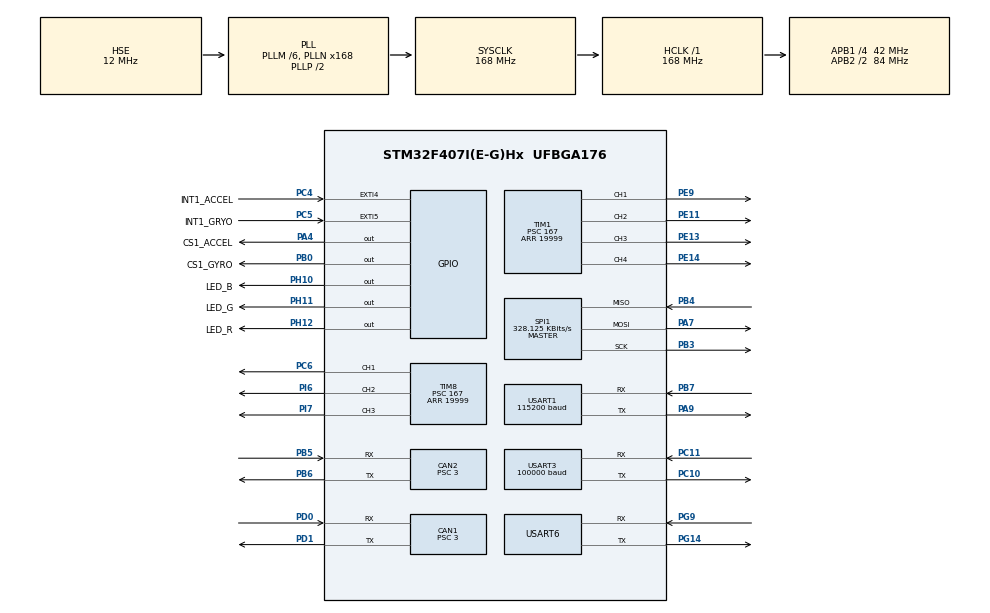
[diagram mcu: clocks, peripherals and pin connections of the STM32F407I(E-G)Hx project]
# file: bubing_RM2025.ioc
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CAN1.BS1=CAN_BS1_10TQ
CAN1.BS2=CAN_BS2_3TQ
CAN1.CalculateBaudRate=1000000
CAN1.CalculateTimeBit=1000
CAN1.CalculateTimeQuantum=71.42857142857143
CAN1.Prescaler=3
CAN2.BS1=CAN_BS1_10TQ
CAN2.BS2=CAN_BS2_3TQ
CAN2.CalculateBaudRate=1000000
CAN2.CalculateTimeBit=1000
CAN2.CalculateTimeQuantum=71.42857142857143
CAN2.Prescaler=3
Dma.Request0=USART6_TX
Dma.Request1=USART6_RX
Dma.Request2=USART3_RX
Dma.Request3=USART1_RX
Dma.Request4=USART1_TX
Dma.USART1_RX.3.Direction=DMA_PERIPH_TO_MEMORY
Dma.USART1_RX.3.FIFOMode=DMA_FIFOMODE_DISABLE
Dma.USART1_RX.3.Instance=DMA2_Stream2
Dma.USART1_RX.3.MemDataAlignment=DMA_MDATAALIGN_BYTE
Dma.USART1_RX.3.MemInc=DMA_MINC_ENABLE
Dma.USART1_RX.3.Mode=DMA_NORMAL
Dma.USART1_RX.3.PeriphDataAlignment=DMA_PDATAALIGN_BYTE
Dma.USART1_RX.3.PeriphInc=DMA_PINC_DISABLE
Dma.USART1_RX.3.Priority=DMA_PRIORITY_HIGH
Dma.USART1_TX.4.Direction=DMA_MEMORY_TO_PERIPH
Dma.USART1_TX.4.FIFOMode=DMA_FIFOMODE_DISABLE
Dma.USART1_TX.4.Instance=DMA2_Stream7
Dma.USART1_TX.4.MemDataAlignment=DMA_MDATAALIGN_BYTE
Dma.USART1_TX.4.MemInc=DMA_MINC_ENABLE
Dma.USART1_TX.4.Mode=DMA_NORMAL
Dma.USART1_TX.4.PeriphDataAlignment=DMA_PDATAALIGN_BYTE
Dma.USART1_TX.4.PeriphInc=DMA_PINC_DISABLE
Dma.USART1_TX.4.Priority=DMA_PRIORITY_HIGH
Dma.USART3_RX.2.Direction=DMA_PERIPH_TO_MEMORY
Dma.USART3_RX.2.FIFOMode=DMA_FIFOMODE_DISABLE
Dma.USART3_RX.2.Instance=DMA1_Stream1
Dma.USART3_RX.2.MemDataAlignment=DMA_MDATAALIGN_BYTE
Dma.USART3_RX.2.MemInc=DMA_MINC_ENABLE
Dma.USART3_RX.2.Mode=DMA_CIRCULAR
Dma.USART3_RX.2.PeriphDataAlignment=DMA_PDATAALIGN_BYTE
Dma.USART3_RX.2.PeriphInc=DMA_PINC_DISABLE
Dma.USART3_RX.2.Priority=DMA_PRIORITY_HIGH
Dma.USART6_RX.1.Direction=DMA_PERIPH_TO_MEMORY
Dma.USART6_RX.1.FIFOMode=DMA_FIFOMODE_DISABLE
Dma.USART6_RX.1.Instance=DMA2_Stream1
Dma.USART6_RX.1.MemDataAlignment=DMA_MDATAALIGN_BYTE
Dma.USART6_RX.1.MemInc=DMA_MINC_ENABLE
Dma.USART6_RX.1.Mode=DMA_CIRCULAR
Dma.USART6_RX.1.PeriphDataAlignment=DMA_PDATAALIGN_BYTE
Dma.USART6_RX.1.PeriphInc=DMA_PINC_DISABLE
Dma.USART6_RX.1.Priority=DMA_PRIORITY_MEDIUM
Dma.USART6_TX.0.Direction=DMA_MEMORY_TO_PERIPH
Dma.USART6_TX.0.FIFOMode=DMA_FIFOMODE_DISABLE
Dma.USART6_TX.0.Instance=DMA2_Stream6
Dma.USART6_TX.0.MemDataAlignment=DMA_MDATAALIGN_BYTE
Dma.USART6_TX.0.MemInc=DMA_MINC_ENABLE
Dma.USART6_TX.0.Mode=DMA_CIRCULAR
Dma.USART6_TX.0.PeriphDataAlignment=DMA_PDATAALIGN_BYTE
Dma.USART6_TX.0.PeriphInc=DMA_PINC_DISABLE
Dma.USART6_TX.0.Priority=DMA_PRIORITY_MEDIUM
FREERTOS.Tasks01=defaultTask,0,128,StartDefaultTask,Default,NULL,Dynamic,NULL,NULL;board_LED_task,-3,128,board_LED,As weak,NULL,Dynamic,NULL,NULL;uart_sent_test,-3,256,uart_sent_debug,As weak,NULL,Dynamic,NULL,NULL;get_rc_task,-3,128,get_rc,As weak,NULL,Dynamic,NULL,NULL;dm_sent_task,-3,128,DM_CAN_SENT,As weak,NULL,Dynamic,NULL,NULL;chassis,-3,256,CHASSIS_TASK,As weak,NULL,Dynamic,NULL,NULL;err,-3,128,error_detection,As weak,NULL,Dynamic,NULL,NULL;imu_data,-3,256,IMU_DATA_GET,As weak,NULL,Dynamic,NULL,NULL;chassis_vx_task,-3,128,CHASSIS_VX,As weak,NULL,Dynamic,NULL,NULL
FREERTOS.configTOTAL_HEAP_SIZE=24576
FREERTOS.configUSE_NEWLIB_REENTRANT=1
Mcu.Family=STM32F4
Mcu.Name=STM32F407I(E-G)Hx
Mcu.Package=UFBGA176
NVIC.CAN1_RX0_IRQn=true\:5\:0\:false\:false\:true\:true\:true\:true\:true
NVIC.CAN1_RX1_IRQn=true\:5\:0\:false\:false\:true\:true\:true\:true\:true
NVIC.CAN2_RX0_IRQn=true\:5\:0\:false\:false\:true\:true\:true\:true\:true
NVIC.CAN2_RX1_IRQn=true\:5\:0\:false\:false\:true\:true\:true\:true\:true
NVIC.DMA1_Stream1_IRQn=true\:5\:0\:false\:false\:true\:true\:false\:true\:true
NVIC.DMA2_Stream1_IRQn=true\:5\:0\:false\:false\:true\:true\:false\:true\:true
NVIC.DMA2_Stream2_IRQn=true\:5\:0\:false\:false\:true\:true\:false\:true\:true
NVIC.DMA2_Stream6_IRQn=true\:5\:0\:false\:false\:true\:true\:false\:true\:true
NVIC.DMA2_Stream7_IRQn=true\:5\:0\:false\:false\:true\:true\:false\:true\:true
NVIC.PriorityGroup=NVIC_PRIORITYGROUP_4
NVIC.TIM7_IRQn=true\:15\:0\:false\:false\:true\:false\:false\:true\:true
NVIC.TIM8_BRK_TIM12_IRQn=true\:5\:0\:false\:false\:true\:true\:true\:true\:true
NVIC.TimeBase=TIM7_IRQn
NVIC.TimeBaseIP=TIM7
NVIC.USART1_IRQn=true\:5\:0\:false\:false\:true\:true\:true\:true\:true
NVIC.USART3_IRQn=true\:5\:0\:false\:false\:true\:true\:true\:true\:true
NVIC.USART6_IRQn=true\:5\:0\:false\:false\:true\:true\:true\:true\:true
PA13.Mode=Serial_Wire
PA13.Signal=SYS_JTMS-SWDIO
PA14.Mode=Serial_Wire
PA14.Signal=SYS_JTCK-SWCLK
PA4.GPIO_Label=CS1_ACCEL
PA4.GPIO_PuPd=GPIO_PULLUP
PA4.GPIO_Speed=GPIO_SPEED_FREQ_HIGH
PA4.PinState=GPIO_PIN_SET
PA4.Signal=GPIO_Output
PA7.Mode=Full_Duplex_Master
PA7.Signal=SPI1_MOSI
PA9.Mode=Asynchronous
PA9.Signal=USART1_TX
PB0.GPIO_Label=CS1_GYRO
PB0.GPIO_PuPd=GPIO_PULLUP
PB0.GPIO_Speed=GPIO_SPEED_FREQ_HIGH
PB0.PinState=GPIO_PIN_SET
PB0.Signal=GPIO_Output
PB3.Mode=Full_Duplex_Master
PB3.Signal=SPI1_SCK
PB4.Mode=Full_Duplex_Master
PB4.Signal=SPI1_MISO
PB5.Mode=CAN_Activate
PB5.Signal=CAN2_RX
PB6.Mode=CAN_Activate
PB6.Signal=CAN2_TX
PB7.Mode=Asynchronous
PB7.Signal=USART1_RX
PC10.Mode=Asynchronous
PC10.Signal=USART3_TX
PC11.Mode=Asynchronous
PC11.Signal=USART3_RX
PC4.GPIO_Label=INT1_ACCEL
PC4.GPIO_PuPd=GPIO_PULLUP
PC4.Signal=GPXTI4
PC5.GPIO_Label=INT1_GRYO
PC5.GPIO_PuPd=GPIO_PULLUP
PC5.Signal=GPXTI5
PC6.Signal=S_TIM8_CH1
PD0.Mode=CAN_Activate
PD0.Signal=CAN1_RX
PD1.Mode=CAN_Activate
PD1.Signal=CAN1_TX
PE11.Signal=S_TIM1_CH2
PE13.Signal=S_TIM1_CH3
PE14.Signal=S_TIM1_CH4
PE9.Signal=S_TIM1_CH1
PG14.Mode=Asynchronous
PG14.Signal=USART6_TX
PG9.Mode=Asynchronous
PG9.Signal=USART6_RX
PH0-OSC_IN.Mode=HSE-External-Oscillator
PH0-OSC_IN.Signal=RCC_OSC_IN
PH1-OSC_OUT.Mode=HSE-External-Oscillator
PH1-OSC_OUT.Signal=RCC_OSC_OUT
PH10.GPIO_Label=LED_B
PH10.Signal=GPIO_Output
PH11.GPIO_Label=LED_G
PH11.Signal=GPIO_Output
PH12.GPIO_Label=LED_R
PH12.Signal=GPIO_Output
PI6.Signal=S_TIM8_CH2
PI7.Signal=S_TIM8_CH3
ProjectManager.HeapSize=0x200
ProjectManager.StackSize=0x400
ProjectManager.TargetToolchain=STM32CubeIDE
RCC.48MHZClocksFreq_Value=84000000
RCC.AHBFreq_Value=168000000
RCC.APB1CLKDivider=RCC_HCLK_DIV4
RCC.APB1Freq_Value=42000000
RCC.APB1TimFreq_Value=84000000
RCC.APB2CLKDivider=RCC_HCLK_DIV2
RCC.APB2Freq_Value=84000000
RCC.APB2TimFreq_Value=168000000
RCC.CortexFreq_Value=168000000
RCC.HCLKFreq_Value=168000000
RCC.HSE_VALUE=12000000
RCC.HSI_VALUE=16000000
RCC.LSE_VALUE=32768
RCC.PLLM=6
RCC.PLLN=168
RCC.PLLSourceVirtual=RCC_PLLSOURCE_HSE
RCC.SYSCLKFreq_VALUE=168000000
RCC.SYSCLKSource=RCC_SYSCLKSOURCE_PLLCLK
RCC.VCOOutputFreq_Value=336000000
SH.S_TIM1_CH1.0=TIM1_CH1,PWM Generation1 CH1
SH.S_TIM1_CH2.0=TIM1_CH2,PWM Generation2 CH2
SH.S_TIM1_CH3.0=TIM1_CH3,PWM Generation3 CH3
SH.S_TIM1_CH4.0=TIM1_CH4,PWM Generation4 CH4
SH.S_TIM8_CH1.0=TIM8_CH1,PWM Generation1 CH1
SH.S_TIM8_CH2.0=TIM8_CH2,PWM Generation2 CH2
SH.S_TIM8_CH3.0=TIM8_CH3,PWM Generation3 CH3
SPI1.BaudRatePrescaler=SPI_BAUDRATEPRESCALER_256
SPI1.CLKPhase=SPI_PHASE_2EDGE
SPI1.CLKPolarity=SPI_POLARITY_HIGH
SPI1.CalculateBaudRate=328.125 KBits/s
SPI1.Direction=SPI_DIRECTION_2LINES
SPI1.Mode=SPI_MODE_MASTER
SPI1.VirtualType=VM_MASTER
TIM1.Channel-PWM\ Generation1\ CH1=TIM_CHANNEL_1
TIM1.Channel-PWM\ Generation2\ CH2=TIM_CHANNEL_2
TIM1.Channel-PWM\ Generation3\ CH3=TIM_CHANNEL_3
TIM1.Channel-PWM\ Generation4\ CH4=TIM_CHANNEL_4
TIM1.Period=19999
TIM1.Prescaler=167
TIM1.Pulse-PWM\ Generation1\ CH1=2000
TIM1.Pulse-PWM\ Generation2\ CH2=2000
TIM1.Pulse-PWM\ Generation3\ CH3=2000
TIM1.Pulse-PWM\ Generation4\ CH4=2000
TIM12.Period=999
TIM12.Prescaler=83
TIM8.Channel-PWM\ Generation1\ CH1=TIM_CHANNEL_1
TIM8.Channel-PWM\ Generation2\ CH2=TIM_CHANNEL_2
TIM8.Channel-PWM\ Generation3\ CH3=TIM_CHANNEL_3
TIM8.Period=19999
TIM8.Prescaler=167
TIM8.Pulse-PWM\ Generation1\ CH1=2000
TIM8.Pulse-PWM\ Generation2\ CH2=2000
TIM8.Pulse-PWM\ Generation3\ CH3=2000
USART1.BaudRate=115200
USART1.VirtualMode=VM_ASYNC
USART3.BaudRate=100000
USART3.Mode=MODE_RX
USART3.Parity=PARITY_EVEN
USART3.VirtualMode=VM_ASYNC
USART6.VirtualMode=VM_ASYNC
VP_FREERTOS_VS_CMSIS_V1.Mode=CMSIS_V1
VP_SYS_VS_tim7.Mode=TIM7
VP_TIM12_VS_ClockSourceINT.Mode=Internal
VP_TIM1_VS_ClockSourceINT.Mode=Internal
VP_TIM8_VS_ClockSourceINT.Mode=Internal
board=custom

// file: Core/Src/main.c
/* USER CODE BEGIN Header */
/**
  ******************************************************************************
  * @file           : main.c
  * @brief          : Main program body
  ******************************************************************************
  * @attention
  *
  * Copyright (c) 2025 STMicroelectronics.
  * All rights reserved.
  *
  * This software is licensed under terms that can be found in the LICENSE file
  * in the root directory of this software component.
  * If no LICENSE file comes with this software, it is provided AS-IS.
  *
  ******************************************************************************
  */
/* USER CODE END Header */
#include "main.h"
#include "cmsis_os.h"
#include "can.h"
#include "dma.h"
#include "spi.h"
#include "tim.h"
#include "usart.h"
#include "gpio.h"

/* USER CODE BEGIN Includes */
#include "bsp_can.h"
#include "remote_control.h"
#include "dm_motor.h"
#include "CHASSIS_TASK.h"
#include "CHASSIS_VX.h"
/* USER CODE END Includes */

/* USER CODE BEGIN PTD */
const RC_ctrl_t *local_rc_ctrl ;
int16_t rc_ch0 ;
int16_t rc_ch1 ;
int16_t rc_ch2 ;
int16_t rc_ch3 ;
int16_t rc_ch4 ;
int16_t rc_s0 ;
int16_t rc_s1 ;
int16_t key_W ;
int16_t key_S ;
int16_t key_A ;
int16_t key_D ;
int16_t key_SHIFT ;
int16_t key_CTRL ;
int16_t key_Q ;
int16_t key_E ;
int16_t key_R ;
int16_t key_F ;
int16_t key_G ;
int16_t key_Z ;
int16_t key_X ;
int16_t key_C ;
int16_t key_V ;
int16_t key_B ;

int16_t mouse_vx ;
int16_t mouse_vy ;
int16_t mouse_press_l ;
int16_t mouse_press_r ;

uint32_t rc_receive_time ;

int16_t rc_receive_state ;//遥控器状态 0为离线，1为在线

int16_t chassis_right_3508_id1_stand_given_current ;
int16_t chassis_left_3508_id2_stand_given_current ;

int16_t chassis_right_3508_id1_turn_given_current ;
int16_t chassis_left_3508_id2_turn_given_current ;

float gyro[3];
float acce[3];
float temp;
float INS_quat[4] = {1.0f, 0.0f, 0.0f, 0.0f};
float INS_angle[3] = {0.0f, 0.0f, 0.0f};
float INS_degree[3] = {0.0f, 0.0f, 0.0f};

float pitch_speed_from_bmi088 ;
float yaw_speed_from_bmi088 ;
float roll_speed_from_bmi088 ;

float pitch_angle_from_bmi088 ;
float yaw_angle_from_bmi088 ;
float roll_angle_from_bmi088 ;

float pitch_radian_from_bmi088 ;
float yaw_radian_from_bmi088 ;
float roll_radian_from_bmi088 ;

uint32_t check_a ;

float angular_speed ;//摆角速度
float angular_angle ;//摆角目标位置
float chassis_vx_given_speed ;//整车目标速度

float chassis_vx_real_speed ;//整车速度

/* USER CODE END PTD */

void SystemClock_Config(void);
void MX_FREERTOS_Init(void);

int main(void)
{

  /* MCU Configuration--------------------------------------------------------*/

  /* Reset of all peripherals, Initializes the Flash interface and the Systick. */
  HAL_Init();

  /* Configure the system clock */
  SystemClock_Config();

  /* Initialize all configured peripherals */
  MX_GPIO_Init();
  MX_DMA_Init();
  MX_USART6_UART_Init();
  MX_USART3_UART_Init();
  MX_CAN1_Init();
  MX_CAN2_Init();
  MX_USART1_UART_Init();
  MX_TIM1_Init();
  MX_TIM8_Init();
  MX_SPI1_Init();
  MX_TIM12_Init();
  /* USER CODE BEGIN 2 */
    remote_control_init();
    local_rc_ctrl = get_remote_control_point();

    dm_motor_init();
    can_filter_init();

    chassis_DM8009_01_speed_pid_init();
    chassis_DM8009_02_speed_pid_init();
    chassis_DM8009_03_speed_pid_init();
    chassis_DM8009_04_speed_pid_init();

    chassis_DM8009_01_angle_pid_init();
    chassis_DM8009_02_angle_pid_init();
    chassis_DM8009_03_angle_pid_init();
    chassis_DM8009_04_angle_pid_init();

    chassis_gyro_pitch_speed_pid_init();
    chassis_gyro_pitch_angle_pid_init();

    chassis_vx_pid_init();

  /* USER CODE END 2 */

  /* Call init function for freertos objects (in cmsis_os2.c) */
  MX_FREERTOS_Init();

  /* Start scheduler */
  osKernelStart();

  /* We should never get here as control is now taken by the scheduler */

  /* Infinite loop */
  while (1)
  {

  }
}

void SystemClock_Config(void)
{
  RCC_OscInitTypeDef RCC_OscInitStruct = {0};
  RCC_ClkInitTypeDef RCC_ClkInitStruct = {0};

  /** Configure the main internal regulator output voltage
  */
  __HAL_RCC_PWR_CLK_ENABLE();
  __HAL_PWR_VOLTAGESCALING_CONFIG(PWR_REGULATOR_VOLTAGE_SCALE1);

  /** Initializes the RCC Oscillators according to the specified parameters
  * in the RCC_OscInitTypeDef structure.
  */
  RCC_OscInitStruct.OscillatorType = RCC_OSCILLATORTYPE_HSE;
  RCC_OscInitStruct.HSEState = RCC_HSE_ON;
  RCC_OscInitStruct.PLL.PLLState = RCC_PLL_ON;
  RCC_OscInitStruct.PLL.PLLSource = RCC_PLLSOURCE_HSE;
  RCC_OscInitStruct.PLL.PLLM = 6;
  RCC_OscInitStruct.PLL.PLLN = 168;
  RCC_OscInitStruct.PLL.PLLP = RCC_PLLP_DIV2;
  RCC_OscInitStruct.PLL.PLLQ = 4;
  if (HAL_RCC_OscConfig(&RCC_OscInitStruct) != HAL_OK)
  {
    Error_Handler();
  }

  /** Initializes the CPU, AHB and APB buses clocks
  */
  RCC_ClkInitStruct.ClockType = RCC_CLOCKTYPE_HCLK|RCC_CLOCKTYPE_SYSCLK
                              |RCC_CLOCKTYPE_PCLK1|RCC_CLOCKTYPE_PCLK2;
  RCC_ClkInitStruct.SYSCLKSource = RCC_SYSCLKSOURCE_PLLCLK;
  RCC_ClkInitStruct.AHBCLKDivider = RCC_SYSCLK_DIV1;
  RCC_ClkInitStruct.APB1CLKDivider = RCC_HCLK_DIV4;
  RCC_ClkInitStruct.APB2CLKDivider = RCC_HCLK_DIV2;

  if (HAL_RCC_ClockConfig(&RCC_ClkInitStruct, FLASH_LATENCY_5) != HAL_OK)
  {
    Error_Handler();
  }
}

void HAL_TIM_PeriodElapsedCallback(TIM_HandleTypeDef *htim)
{
  if (htim->Instance == TIM7) {
    HAL_IncTick();
  }
}

void Error_Handler(void)
{
  __disable_irq();
  while (1)
  {
  }
}

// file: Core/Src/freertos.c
/* USER CODE BEGIN Header */
/**
  ******************************************************************************
  * File Name          : freertos.c
  * Description        : Code for freertos applications
  ******************************************************************************
  * @attention
  *
  * Copyright (c) 2025 STMicroelectronics.
  * All rights reserved.
  *
  * This software is licensed under terms that can be found in the LICENSE file
  * in the root directory of this software component.
  * If no LICENSE file comes with this software, it is provided AS-IS.
  *
  ******************************************************************************
  */
/* USER CODE END Header */

#include "FreeRTOS.h"
#include "task.h"
#include "main.h"
#include "cmsis_os.h"

/* USER CODE BEGIN Includes */
#include "dm_motor.h"
/* USER CODE END Includes */

osThreadId defaultTaskHandle;
osThreadId board_LED_taskHandle;
osThreadId uart_sent_testHandle;
osThreadId get_rc_taskHandle;
osThreadId dm_sent_taskHandle;
osThreadId chassisHandle;
osThreadId errHandle;
osThreadId imu_dataHandle;
osThreadId chassis_vx_taskHandle;

void StartDefaultTask(void const * argument);
void board_LED(void const * argument);
void uart_sent_debug(void const * argument);
void get_rc(void const * argument);
void DM_CAN_SENT(void const * argument);
void CHASSIS_TASK(void const * argument);
void error_detection(void const * argument);
void IMU_DATA_GET(void const * argument);
void CHASSIS_VX(void const * argument);

void MX_FREERTOS_Init(void); /* (MISRA C 2004 rule 8.1) */

/* GetIdleTaskMemory prototype (linked to static allocation support) */
void vApplicationGetIdleTaskMemory( StaticTask_t **ppxIdleTaskTCBBuffer, StackType_t **ppxIdleTaskStackBuffer, uint32_t *pulIdleTaskStackSize );

/* USER CODE BEGIN GET_IDLE_TASK_MEMORY */
static StaticTask_t xIdleTaskTCBBuffer;
static StackType_t xIdleStack[configMINIMAL_STACK_SIZE];

void vApplicationGetIdleTaskMemory( StaticTask_t **ppxIdleTaskTCBBuffer, StackType_t **ppxIdleTaskStackBuffer, uint32_t *pulIdleTaskStackSize )
{
  *ppxIdleTaskTCBBuffer = &xIdleTaskTCBBuffer;
  *ppxIdleTaskStackBuffer = &xIdleStack[0];
  *pulIdleTaskStackSize = configMINIMAL_STACK_SIZE;
  /* place for user code */
}
/* USER CODE END GET_IDLE_TASK_MEMORY */

void MX_FREERTOS_Init(void) {

  /* Create the thread(s) */
  /* definition and creation of defaultTask */
  osThreadDef(defaultTask, StartDefaultTask, osPriorityNormal, 0, 128);
  defaultTaskHandle = osThreadCreate(osThread(defaultTask), NULL);

  /* definition and creation of board_LED_task */
  osThreadDef(board_LED_task, board_LED, osPriorityIdle, 0, 128);
  board_LED_taskHandle = osThreadCreate(osThread(board_LED_task), NULL);

  /* definition and creation of uart_sent_test */
  osThreadDef(uart_sent_test, uart_sent_debug, osPriorityIdle, 0, 256);
  uart_sent_testHandle = osThreadCreate(osThread(uart_sent_test), NULL);

  /* definition and creation of get_rc_task */
  osThreadDef(get_rc_task, get_rc, osPriorityIdle, 0, 128);
  get_rc_taskHandle = osThreadCreate(osThread(get_rc_task), NULL);

  /* definition and creation of dm_sent_task */
  osThreadDef(dm_sent_task, DM_CAN_SENT, osPriorityIdle, 0, 128);
  dm_sent_taskHandle = osThreadCreate(osThread(dm_sent_task), NULL);

  /* definition and creation of chassis */
  osThreadDef(chassis, CHASSIS_TASK, osPriorityIdle, 0, 256);
  chassisHandle = osThreadCreate(osThread(chassis), NULL);

  /* definition and creation of err */
  osThreadDef(err, error_detection, osPriorityIdle, 0, 128);
  errHandle = osThreadCreate(osThread(err), NULL);

  /* definition and creation of imu_data */
  osThreadDef(imu_data, IMU_DATA_GET, osPriorityIdle, 0, 256);
  imu_dataHandle = osThreadCreate(osThread(imu_data), NULL);

  /* definition and creation of chassis_vx_task */
  osThreadDef(chassis_vx_task, CHASSIS_VX, osPriorityIdle, 0, 128);
  chassis_vx_taskHandle = osThreadCreate(osThread(chassis_vx_task), NULL);

}

void StartDefaultTask(void const * argument)
{
  for(;;)
  {
    osDelay(1);
  }
}

__weak void board_LED(void const * argument)
{
  for(;;)
  {
    osDelay(1);
  }
}

__weak void uart_sent_debug(void const * argument)
{
  for(;;)
  {
    osDelay(1);
  }
}

__weak void get_rc(void const * argument)
{
  for(;;)
  {
    osDelay(1);
  }
}

__weak void DM_CAN_SENT(void const * argument)
{
  for(;;)
  {
    osDelay(1);
  }
}

__weak void CHASSIS_TASK(void const * argument)
{
  for(;;)
  {
    osDelay(1);
  }
}

__weak void error_detection(void const * argument)
{
  for(;;)
  {
    osDelay(1);
  }
}

__weak void IMU_DATA_GET(void const * argument)
{
  for(;;)
  {
    osDelay(1);
  }
}

__weak void CHASSIS_VX(void const * argument)
{
  for(;;)
  {
    osDelay(1);
  }
}
